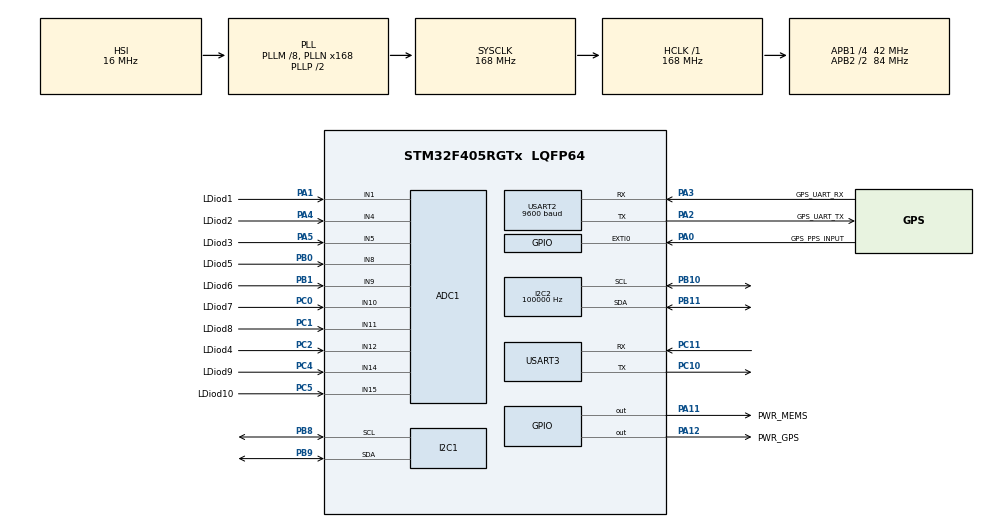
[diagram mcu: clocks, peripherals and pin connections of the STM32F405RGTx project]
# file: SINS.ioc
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Mcu.Family=STM32F4
PH0-OSC_IN.Signal=RCC_OSC_IN
RCC.CortexFreq_Value=168000000
NVIC.I2C1_EV_IRQn=true\:1\:0\:true\:false\:true\:true\:true
PB10.Mode=I2C
VP_ADC1_TempSens_Input.Mode=IN-TempSens
Dma.I2C1_TX.1.Mode=DMA_NORMAL
PC10.Signal=USART3_TX
VP_IWDG_VS_IWDG.Mode=IWDG_Activate
PC0.GPIO_Label=LDiod7
VP_RTC_VS_RTC_Activate.Mode=RTC_Enabled
PB0.GPIO_Label=LDiod5
PB11.Signal=I2C2_SDA
RCC.SYSCLKSource=RCC_SYSCLKSOURCE_PLLCLK
ProjectManager.StackSize=0x400
Dma.I2C1_TX.1.Direction=DMA_MEMORY_TO_PERIPH
PA12.Signal=GPIO_Output
Mcu.UserConstants=ADC_TIMEOUT,100
RCC.HCLKFreq_Value=168000000
RCC.APB2TimFreq_Value=168000000
PB6.Signal=S_TIM4_CH1
Dma.I2C1_RX.0.PeriphDataAlignment=DMA_PDATAALIGN_BYTE
Dma.I2C1_TX.1.PeriphInc=DMA_PINC_DISABLE
RCC.AHBFreq_Value=168000000
PH0-OSC_IN.Mode=HSE-External-Clock-Source
Dma.I2C1_RX.0.Priority=DMA_PRIORITY_LOW
PA12.PinState=GPIO_PIN_SET
RCC.HSE_VALUE=8000000
RCC.RCC_RTC_Clock_Source_FROM_HSE=RCC_RTCCLKSOURCE_HSE_DIV24
ADC1.ScanConvMode=ENABLE
Dma.I2C1_RX.0.Mode=DMA_NORMAL
SH.ADCx_IN15.0=ADC1_IN15,IN15
PC14-OSC32_IN.Mode=LSE-External-Clock-Source
PC4.GPIO_Label=LDiod9
PA14.Mode=Serial_Wire
PB1.GPIO_Label=LDiod6
SH.ADCx_IN8.0=ADC1_IN8,IN8
SH.S_TIM4_CH2.0=TIM4_CH2
PB7.Signal=S_TIM4_CH2
Dma.I2C1_RX.0.Direction=DMA_PERIPH_TO_MEMORY
SH.S_TIM3_CH1.0=TIM3_CH1
NVIC.I2C1_ER_IRQn=true\:1\:0\:true\:false\:true\:true\:true
PH1-OSC_OUT.Mode=HSE-External-Clock-Source
Mcu.Package=LQFP64
PB9.Signal=I2C1_SDA
PB1.Signal=ADCx_IN9
PA6.Signal=S_TIM3_CH1
SH.ADCx_IN14.0=ADC1_IN14,IN14
USART2.VirtualMode=VM_ASYNC
PA2.GPIO_Label=GPS_UART_TX
PC11.Mode=Asynchronous
SH.ADCx_IN9.0=ADC1_IN9,IN9
PB8.GPIO_PuPdOD=GPIO_NOPULL
RCC.APB2CLKDivider=RCC_HCLK_DIV2
SH.ADCx_IN1.0=ADC1_IN1,IN1
SH.S_TIM4_CH1.0=TIM4_CH1
Dma.Request1=I2C1_TX
RCC.APB1TimFreq_Value=84000000
NVIC.DMA1_Stream0_IRQn=true\:1\:0\:true\:false\:true\:false\:true
PC5.Signal=ADCx_IN15
Dma.Request0=I2C1_RX
NVIC.DMA1_Stream6_IRQn=true\:1\:0\:true\:false\:true\:false\:true
I2C2.I2C_Mode=I2C_Fast
PA4.GPIO_Label=LDiod2
PC2.GPIO_Label=LDiod4
PA3.Signal=USART2_RX
Dma.I2C1_TX.1.PeriphDataAlignment=DMA_PDATAALIGN_BYTE
PC15-OSC32_OUT.Mode=LSE-External-Clock-Source
Dma.I2C1_RX.0.PeriphInc=DMA_PINC_DISABLE
Dma.I2C1_RX.0.MemDataAlignment=DMA_MDATAALIGN_BYTE
PC11.Signal=USART3_RX
PB10.GPIO_PuPdOD=GPIO_NOPULL
PB11.GPIO_PuPdOD=GPIO_NOPULL
PC2.Signal=ADCx_IN12
PC4.Signal=ADCx_IN14
PC10.Mode=Asynchronous
PA11.GPIO_Label=PWR_MEMS
PC0.Signal=ADCx_IN10
RCC.APB1CLKDivider=RCC_HCLK_DIV4
PC14-OSC32_IN.Signal=RCC_OSC32_IN
NVIC.USART2_IRQn=true\:1\:0\:true\:false\:true\:true\:false
USART2.BaudRate=9600
PA12.GPIO_Label=PWR_GPS
PA0-WKUP.GPIO_Label=GPS_PPS_INPUT
PA0-WKUP.Signal=GPXTI0
PA3.Mode=Asynchronous
PA13.Signal=SYS_JTMS-SWDIO
SH.ADCx_IN12.0=ADC1_IN12,IN12
PB11.Mode=I2C
ProjectManager.TargetToolchain=STM32CubeIDE
I2C1.I2C_Mode=I2C_Fast
PB9.Mode=I2C
ADC1.Channel-1\#ChannelRegularConversion=ADC_CHANNEL_1
Dma.I2C1_RX.0.MemInc=DMA_MINC_ENABLE
Dma.I2C1_TX.1.Instance=DMA1_Stream6
RCC.LSE_VALUE=32768
PC15-OSC32_OUT.Signal=RCC_OSC32_OUT
PA1.Signal=ADCx_IN1
PB10.Signal=I2C2_SCL
PA5.Signal=ADCx_IN5
SH.S_TIM3_CH2.0=TIM3_CH2
board=custom
RCC.VCOOutputFreq_Value=336000000
Dma.I2C1_TX.1.Priority=DMA_PRIORITY_LOW
Dma.I2C1_TX.1.FIFOMode=DMA_FIFOMODE_DISABLE
RCC.APB2Freq_Value=84000000
SH.ADCx_IN11.0=ADC1_IN11,IN11
Dma.I2C1_TX.1.MemInc=DMA_MINC_ENABLE
I2C2.ClockSpeed=100000
PC1.GPIO_Label=LDiod8
PA1.GPIO_Label=LDiod1
PH1-OSC_OUT.Signal=RCC_OSC_OUT
RCC.RCC_RTC_Clock_SourceVirtual=RCC_RTCCLKSOURCE_LSE
SH.ADCx_IN4.0=ADC1_IN4,IN4
Dma.I2C1_TX.1.MemDataAlignment=DMA_MDATAALIGN_BYTE
ADC1.NbrOfConversion=1
PA13.Mode=Serial_Wire
Mcu.Name=STM32F405RGTx
SH.S_TIM3_ETR.0=TIM3_ETR
PA2.Signal=USART2_TX
I2C1.OwnAddress=0x7A
RCC.48MHZClocksFreq_Value=84000000
NVIC.EXTI0_IRQn=true\:0\:0\:false\:false\:true\:true\:true
PA4.Signal=ADCx_IN4
ADC1.SamplingTime-1\#ChannelRegularConversion=ADC_SAMPLETIME_84CYCLES
RCC.SYSCLKFreq_VALUE=168000000
ADC1.master=1
PA5.GPIO_Label=LDiod3
PC5.GPIO_Label=LDiod10
USART3.VirtualMode=VM_ASYNC
ADC1.Rank-1\#ChannelRegularConversion=1
PA11.Signal=GPIO_Output
PA14.Signal=SYS_JTCK-SWCLK
SH.ADCx_IN10.0=ADC1_IN10,IN10
ProjectManager.HeapSize=0x200
Dma.I2C1_RX.0.FIFOMode=DMA_FIFOMODE_DISABLE
PB9.GPIO_PuPdOD=GPIO_NOPULL
RCC.HSI_VALUE=16000000
SH.ADCx_IN5.0=ADC1_IN5,IN5
NVIC.PriorityGroup=NVIC_PRIORITYGROUP_4
ADC1.NbrOfConversionFlag=1
RCC.PLLM=8
PB8.Mode=I2C
RCC.PLLN=168
IWDG.Prescaler=IWDG_PRESCALER_256
PA2.Mode=Asynchronous
PB8.Signal=I2C1_SCL
PA0-WKUP.GPIO_PuPd=GPIO_PULLDOWN
PD2.Signal=S_TIM3_ETR
PA11.PinState=GPIO_PIN_SET
RCC.APB1Freq_Value=42000000
PB0.Signal=ADCx_IN8
Dma.I2C1_RX.0.Instance=DMA1_Stream0
PC1.Signal=ADCx_IN11
PA3.GPIO_Label=GPS_UART_RX
PA7.Signal=S_TIM3_CH2

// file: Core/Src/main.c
/* USER CODE BEGIN Header */
/**
  ******************************************************************************
  * @file           : main.c
  * @brief          : Main program body
  ******************************************************************************
  * @attention
  *
  * <h2><center>&copy; Copyright (c) 2021 STMicroelectronics.
  * All rights reserved.</center></h2>
  *
  * This software component is licensed by ST under BSD 3-Clause license,
  * the "License"; You may not use this file except in compliance with the
  * License. You may obtain a copy of the License at:
  *                        opensource.org/licenses/BSD-3-Clause
  *
  ******************************************************************************
  */
/* USER CODE END Header */
#include "main.h"

/* USER CODE BEGIN Includes */

#include <errno.h>
#include <stdlib.h>
#include <string.h>
#include <assert.h>

#include <math.h>

#include <stm32f4xx_hal.h>
//#include <diag/Trace.h>

#include "sins_config.h"

#include "drivers/time_svc/time_svc.h"
#include "drivers/mems/mems.h"
#include "drivers/gps/gps.h"
#include "drivers/uplink.h"
#include "drivers/analog/analog.h"
#include "drivers/time_svc/timers_world.h"
#include "backup_sram.h"
#include "drivers/led.h"
#include "errors.h"
#include "SolTrack.h"

#include "mav_packet.h"

#include "state.h"

#include "ahrs.h"
#include "MadgwickAHRS.h"
#include "quaternion.h"
#include "sensors.h"
#include "lds.h"

#include "commissar.h"

/* USER CODE END Includes */

/* USER CODE BEGIN PD */

#define    DWT_CYCCNT    *(volatile uint32_t*)0xE0001004
#define    DWT_CONTROL   *(volatile uint32_t*)0xE0001000
#define    SCB_DEMCR     *(volatile uint32_t*)0xE000EDFC

/* USER CODE END PD */

ADC_HandleTypeDef hadc1;

I2C_HandleTypeDef hi2c2;

IWDG_HandleTypeDef hiwdg;

RTC_HandleTypeDef hrtc;

UART_HandleTypeDef huart2;
UART_HandleTypeDef huart3;

/* USER CODE BEGIN PV */

error_system_t error_system;
state_system_t state_system;
stateSINS_rsc_t stateSINS_rsc;
state_zero_t state_zero;
stateSINS_isc_t stateSINS_isc;
stateSINS_isc_t stateSINS_isc_prev;
//stateSINS_lds_t stateSINS_lds;
/* USER CODE END PV */

void SystemClock_Config(void);
static void MX_GPIO_Init(void);
static void MX_DMA_Init(void);
static void MX_I2C1_Init(void);
static void MX_I2C2_Init(void);
static void MX_USART2_UART_Init(void);
static void MX_USART3_UART_Init(void);
static void MX_RTC_Init(void);
static void MX_ADC1_Init(void);
static void MX_IWDG_Init(void);
/* USER CODE BEGIN PFP */

static void read_ldiods(float arr[ITS_SINS_LDS_COUNT]);
/* USER CODE END PFP */

/* USER CODE BEGIN 0 */

static void dwt_init()
{
	SCB_DEMCR |= CoreDebug_DEMCR_TRCENA_Msk;// разрешаем использовать DWT
	DWT_CONTROL|= DWT_CTRL_CYCCNTENA_Msk; // включаем счётчик
	DWT_CYCCNT = 0;// обнуляем счётчик
}

void system_reset()
{
	led_blink(5, 400);
	HAL_NVIC_SystemReset();
}

static uint32_t last_gps_packet_ts = 0;
static uint32_t last_gps_fix_packet_ts = 0;

/*
static void calibration_accel()
{
	backup_sram_enable();
	backup_sram_erase();

	sensors_init();

	for(;;)
	{
		//	Arrays
		float accel[3] = {0, 0, 0};
		float gyro[3] = {0, 0, 0};
//		float magn[3] = {0, 0, 0};

//		error_system.lis3mdl_error = sensors_lis3mdl_read(magn);
	//	trace_printf("lis error %d\n", error_system.lis3mdl_init_error);

		error_system.lsm6ds3_error = sensors_lsm6ds3_read(accel, gyro);
	//	trace_printf("lsm error %d\n", error_system.lsm6ds3_init_error);

		if (error_system.lsm6ds3_error != 0)
			continue;

		//	пересчитываем их и записываем в структуры
		stateSINS_isc.tv.tv_sec = HAL_GetTick();

		for (int k = 0; k < 3; k++)
		{

			stateSINS_isc.accel[k] = accel[k];
		}

		mavlink_sins_isc(&stateSINS_isc);
		led_toggle();
	}
}
*/

/*
static void calibration_magn()
{
	backup_sram_enable();
	backup_sram_erase();

	sensors_init();

	for(;;)
	{
		//	Arrays
//		float accel[3] = {0, 0, 0};
//		float gyro[3] = {0, 0, 0};
		float magn[3] = {0, 0, 0};

		error_system.lis3mdl_error = sensors_lis3mdl_read(magn);

		if (error_system.lis3mdl_error!= 0)
			continue;

		//	пересчитываем их и записываем в структуры
		stateSINS_isc.tv.tv_sec = HAL_GetTick();

		for (int k = 0; k < 3; k++)
		{

			stateSINS_isc.magn[k] = magn[k];
		}

		mavlink_sins_isc(&stateSINS_isc);
		led_toggle();
	}
}
*/

void on_gps_packet_ahrs(void *arg, const ubx_any_packet_t * packet) {
    if (!ITS_SINS_AHRS_USE_LDS) {
        return;
    }

    int is_packet_valid =
            (packet->pid == UBX_PID_NAV_SOL &&
             packet->packet.navsol.gps_fix == UBX_FIX_TYPE__3D);

    if (!is_packet_valid || time_svc_timebase() != TIME_SVC_TIMEBASE__GPS) {
        return;
    }

    struct timeval tv = {0};
    time_svc_world_get_time(&tv);
    struct Time time = {0};
    time_t seconds = tv.tv_sec;
    struct tm *lt = gmtime(&seconds);
    time.second = tv.tv_sec % 60 + tv.tv_usec / 1000000.0;
    time.minute = lt->tm_min;
    time.hour = lt->tm_hour;
    time.day = lt->tm_mday;
    time.month = lt->tm_mon + 1;
    time.year = lt->tm_year + 1900;

    struct Location location = {0};
    //location.latitude = packet->packet.navsol.pos_ecef;

    int useDegrees = 0;
    int useNorthEqualsZero = 1;
    int computeRefrEquatorial = 0;
    int computeDistance = 0;

    struct Position position = {0};

    float long_lat_coords[3] = {0};
    float xyz_coords[3] = {packet->packet.navsol.pos_ecef[0], packet->packet.navsol.pos_ecef[1], packet->packet.navsol.pos_ecef[2]};
    dekart_to_euler(xyz_coords, long_lat_coords);
    location.latitude = (M_PI / 2 - long_lat_coords[1]);
    location.longitude = (long_lat_coords[2]);
    SolTrack(time, location, &position, useDegrees, useNorthEqualsZero, computeRefrEquatorial, computeDistance);

    float dir_sph[3] = {0};
    dir_sph[0] = 1;
    dir_sph[1] = M_PI / 2 - position.altitude;
    dir_sph[2] = position.azimuthRefract;
    float dir_xyz[3] = {0};

    euler_to_dekart(dir_xyz, dir_sph);

    ahrs_updateVecReal(AHRS_LIGHT, vec_arrToVec(dir_xyz));

    stateSINS_isc.dir_real_sph[0] = dir_sph[0];
    stateSINS_isc.dir_real_sph[1] = dir_sph[1];
    stateSINS_isc.dir_real_sph[2] = dir_sph[2];
    stateSINS_isc.last_valid_gps_packet_time = HAL_GetTick();
    stateSINS_isc.should_we_use_lds = 1;
}
// Функция для слежения за здоровьем GPS и передачи его пакетов в мавлинк
static void on_gps_packet_main(void * arg, const ubx_any_packet_t * packet)
{
	switch (packet->pid)
	{
#pragma GCC diagnostic push
#pragma GCC diagnostic ignored "-Wimplicit-fallthrough"
	case UBX_PID_NAV_SOL:
		// Отмечаем время получения пакета с фиксом
		if (packet->packet.navsol.gps_fix == UBX_FIX_TYPE__3D)
			last_gps_fix_packet_ts = HAL_GetTick();
#pragma GCC diagnostic pop
		/* no break */

	case UBX_PID_NAV_TIMEGPS:
	case UBX_PID_TIM_TP:
		// Отмечаем время получения вообще какого-либо пакета
		last_gps_packet_ts = HAL_GetTick();
		break;

	default:
		// остальные пакеты нас не интересуют
		break;
	}

	// Передаем дальше для обработки
	on_gps_packet(arg, packet);
	on_gps_packet_ahrs(arg, packet);
}

void quat_to_angles(float* quat, float *ang){

    ang[0] = (float)atan((double)((2 * (quat[0] * quat[1] + quat[2] * quat[3])) / (1 - 2 * (quat[1] * quat[1] + quat[2] * quat[2]))));

    ang[1] = (float)asin((double)(2 * (quat[0] * quat[2] - quat[3] * quat[1])));

    ang[2] = (float)atan((double)((2 * (quat[0] * quat[3] + quat[1] * quat[2])) / (1 - 2 * (quat[2] * quat[2] + quat[3] * quat[3]))));
}
/**
  * @brief	Collects data from SINS, stores it and makes quat using "S.Madgwick's" algo
  * @retval	R/w IMU error
  */
int UpdateDataAll(void)
{
	int error = 0;

	//30 минут
    if (HAL_GetTick() - stateSINS_isc.last_valid_gps_packet_time > 1000 * 1800) {
        stateSINS_isc.should_we_use_lds = 0;
    }
	//	Arrays
	float accel[3] = {0, 0, 0};
	float gyro[3] = {0, 0, 0};
	float magn[3] = {0, 0, 0};

	error_system.lis3mdl_error = sensors_lis3mdl_read(magn);
//	trace_printf("lis error %d\n", error_system.lis3mdl_init_error);

	error_system.lsm6ds3_error = sensors_lsm6ds3_read(accel, gyro);
//	trace_printf("lsm error %d\n", error_system.lsm6ds3_init_error);

	float light[3];
	if (ITS_SINS_AHRS_USE_LDS) {
	    float arr[ITS_SINS_LDS_COUNT] = {0};
	    read_ldiods(arr);
        for (int i = 0; i < ITS_SINS_LDS_COUNT; i++) {
            stateSINS_isc.sensor[i] = arr[i];
        }

        float lds_ginv_buf[LDS_DIM * LDS_COUNT];
        Matrixf lds_ginv = matrix_create_static(LDS_DIM, LDS_COUNT, lds_ginv_buf, LDS_DIM * LDS_COUNT);
        int res = lds_get_ginversed(arr, 0.1, &lds_ginv);
        lds_solution(arr, &lds_ginv, light);
        stateSINS_isc.dir_error = lds_calc_error(arr, 0.1, &lds_ginv, light);
        if (isnan(light[0]) || isnan(light[1]) || isnan(light[2]) || res) {
            light[0] = 1;
            light[1] = 0;
            light[2] = 0;
            stateSINS_isc.dir_error = -1;
        }

        //lds_find_bound(light, arr, 0.1);

	    //lds_find(light, arr);

	    {
            float light_sph[3];
            dekart_to_euler(light, light_sph);

            for (int i = 0; i < 3; i++) {
                stateSINS_isc.dir_sph[i] = light_sph[i];
                stateSINS_isc.dir_xyz[i] = light[i];
            }
            static uint32_t tick = 0;
            if (tick % 50 == 0) {
    //            printf("lds: %.3f %.3f %.3f\n", light[0], light[1], light[2]);
            }
            tick++;
        }

        time_svc_world_get_time(&stateSINS_isc.tv);
	}

	time_svc_world_get_time(&stateSINS_isc.tv);

	//	пересчитываем их и записываем в структуры
	for (int k = 0; k < 3; k++) {
		stateSINS_rsc.accel[k] = accel[k];
		gyro[k] -= state_zero.gyro_staticShift[k];
		stateSINS_rsc.gyro[k] = gyro[k];
		stateSINS_rsc.magn[k] = magn[k];
	}

	if ((error_system.lsm6ds3_error != 0) && (error_system.lis3mdl_error != 0))
		return -22;

	/////////////////////////////////////////////////////
	/////////////	UPDATE QUATERNION  //////////////////
	/////////////////////////////////////////////////////

	float t = magn[0];
	magn[0] = -magn[1];
	magn[1] = -t;
	float dt = ((float)((stateSINS_isc.tv.tv_sec * 1000 + stateSINS_isc.tv.tv_usec / 1000)  - (stateSINS_isc_prev.tv.tv_sec * 1000 + stateSINS_isc_prev.tv.tv_usec / 1000))) / 1000;
//	trace_printf("dt = %f", dt);
	stateSINS_isc_prev.tv.tv_sec = stateSINS_isc.tv.tv_sec;
	stateSINS_isc_prev.tv.tv_usec = stateSINS_isc.tv.tv_usec;

    float beta = 6.0;
    quaternion_t ori = {1, 0, 0, 0};

    if (error_system.lsm6ds3_error == 0) {
        stateSINS_isc.do_we_use_lds = ITS_SINS_AHRS_USE_LDS && stateSINS_isc.should_we_use_lds;
        stateSINS_isc.do_we_use_mag = (error_system.lis3mdl_error == 0) && ITS_SINS_AHRS_USE_MAG && !(stateSINS_isc.do_we_use_lds && ITS_SINS_AHRS_LDS_MAG_EXCLUSIVE);

        ahrs_vectorActivate(AHRS_MAG, stateSINS_isc.do_we_use_mag);
        ahrs_vectorActivate(AHRS_LIGHT, stateSINS_isc.do_we_use_lds);
        ahrs_vectorActivate(AHRS_ACCEL, 1);
        ahrs_setKoefB(beta);

        ahrs_updateVecReal(AHRS_MAG, ahrs_get_good_vec_from_mag(vec_arrToVec(magn)));
        ahrs_updateVecReal(AHRS_LIGHT, vec_init(1, -1, 0));
        //Real of light is set in on_gps_packet_ahrs
        //Real of accel is set on start

        ahrs_updateVecMeasured(AHRS_MAG, vec_arrToVec(magn));
        ahrs_updateVecMeasured(AHRS_LIGHT, vec_arrToVec(light));
        ahrs_updateVecMeasured(AHRS_ACCEL, vec_arrToVec(accel));

        ahrs_updateGyroData(vec_arrToVec(gyro));
        ahrs_calculateOrientation(dt);
    }

    ori = ahrs_getOrientation();
    stateSINS_isc.quaternion[0] = ori.w;
    stateSINS_isc.quaternion[1] = ori.x;
    stateSINS_isc.quaternion[2] = ori.y;
    stateSINS_isc.quaternion[3] = ori.z;

	/////////////////////////////////////////////////////
	///////////  ROTATE VECTORS TO ISC  /////////////////
	/////////////////////////////////////////////////////

	vector_t accel_ISC = vec_arrToVec(accel);
	//accel_ISC = vec_rotate(&t, &ori);
	vector_t mag_ISC = vec_arrToVec(magn);
	//mag_ISC = vec_rotate(&t, &ori);

//	printf("hello?\n");
	if (0 == error_system.lsm6ds3_error)
	{
        //TODO: разобраться со сдвигами
	    stateSINS_isc.accel[0] = accel_ISC.x - state_zero.accel_staticShift[0];
	    stateSINS_isc.accel[1] = accel_ISC.y - state_zero.accel_staticShift[1];
	    stateSINS_isc.accel[2] = accel_ISC.z - state_zero.accel_staticShift[2];

	}
	else
	{
		for (int i = 0; i < 3; i++)
			stateSINS_isc.accel[i] = 0;
	}

	//	Copy vectors to global structure
	if (0 == error_system.lis3mdl_error)
	{
        stateSINS_isc.magn[0] = mag_ISC.x;
        stateSINS_isc.magn[1] = mag_ISC.y;
        stateSINS_isc.magn[2] = mag_ISC.z;
	}
	else
	{
		for(int i = 0; i < 3; i++)
			stateSINS_isc.magn[i] = 0;
	}

	float ang[3];
	quat_to_angles(stateSINS_isc.quaternion, ang);
	//printf("ang: %6.2f %6.2f %6.2f\n", ang[0], ang[1], ang[2]);
	return error;
}

/**
  * @brief	Special function for updating previous values structures by current values
  */
void SINS_updatePrevData(void)
{
	for(int i = 0; i < 3; i++)
		if (isnanf(stateSINS_isc.quaternion[i]))		//проверка на нан
			return;

	__disable_irq();
	memcpy(&stateSINS_isc_prev,			&stateSINS_isc,			sizeof(stateSINS_isc));
//	memcpy(&state_system_prev, 			&state_system,		 	sizeof(state_system));		//FIXME: зачем это делать?
	__enable_irq();
}

//FIXME: теперь нет джампера
int check_SINS_state(void)
{
	__HAL_RCC_GPIOB_CLK_ENABLE();
	GPIO_InitTypeDef gpioc;
	gpioc.Mode = GPIO_MODE_INPUT;
	gpioc.Pin = GPIO_PIN_9;
	gpioc.Pull = GPIO_NOPULL;
	gpioc.Speed = GPIO_SPEED_HIGH;
	HAL_GPIO_Init(GPIOB, &gpioc);

	if (HAL_GPIO_ReadPin(GPIOB, GPIO_PIN_9)) //пин с джампером
		return 1;
	else
		return 0;
}

static uint16_t _fetch_reset_cause(void)
{
	int rc = 0;

	if (__HAL_RCC_GET_FLAG(RCC_FLAG_PINRST))
		rc |= MCU_RESET_PIN;

	if (__HAL_RCC_GET_FLAG(RCC_FLAG_PORRST))
		rc |= MCU_RESET_POR;

	if (__HAL_RCC_GET_FLAG(RCC_FLAG_SFTRST))
		rc |= MCU_RESET_SW;

	if (__HAL_RCC_GET_FLAG(RCC_FLAG_IWDGRST))
		rc |= MCU_RESET_WATCHDOG;

	if (__HAL_RCC_GET_FLAG(RCC_FLAG_WWDGRST))
		rc |= MCU_RESET_WATCHDOG2;

	if (__HAL_RCC_GET_FLAG(RCC_FLAG_LPWRRST))
		rc |= MCU_RESET_LOWPOWER;

	__HAL_RCC_CLEAR_RESET_FLAGS();
	return rc;
}

#define RTC_BKP_DR1                     0x00000001U

static uint32_t RTC_BAK_GetRegister(RTC_TypeDef *RTCx, uint32_t BackupRegister)
{
	register uint32_t tmp = 0U;

	  tmp = (uint32_t)(&(RTCx->BKP0R));
	  tmp += (BackupRegister * 4U);

	  /* Read the specified register */
	  return (*(__IO uint32_t *)tmp);
}

static void RTC_BAK_SetRegister(RTC_TypeDef *RTCx, uint32_t BackupRegister, uint32_t Data)
{
  register uint32_t tmp = 0U;

  tmp = (uint32_t)(&(RTCx->BKP0R));
  tmp += (BackupRegister * 4U);

  /* Write the specified register */
  *(__IO uint32_t *)tmp = (uint32_t)Data;
}

int HSI_SystemClock_Config(void)
{
	RCC_OscInitTypeDef RCC_OscInitStruct = {0};
	RCC_ClkInitTypeDef RCC_ClkInitStruct = {0};
	RCC_PeriphCLKInitTypeDef PeriphClkInitStruct = {0};

	/** Configure the main internal regulator output voltage
	*/
	__HAL_RCC_PWR_CLK_ENABLE();
	__HAL_PWR_VOLTAGESCALING_CONFIG(PWR_REGULATOR_VOLTAGE_SCALE1);
	/** Initializes the RCC Oscillators according to the specified parameters
	* in the RCC_OscInitTypeDef structure.
	*/
	RCC_OscInitStruct.OscillatorType = RCC_OSCILLATORTYPE_HSI|RCC_OSCILLATORTYPE_LSI
							  |RCC_OSCILLATORTYPE_LSE;
	RCC_OscInitStruct.LSEState = RCC_LSE_BYPASS;
	RCC_OscInitStruct.HSIState = RCC_HSI_ON;
	RCC_OscInitStruct.HSICalibrationValue = RCC_HSICALIBRATION_DEFAULT;
	RCC_OscInitStruct.LSIState = RCC_LSI_ON;
	RCC_OscInitStruct.PLL.PLLState = RCC_PLL_ON;
	RCC_OscInitStruct.PLL.PLLSource = RCC_PLLSOURCE_HSI;
	RCC_OscInitStruct.PLL.PLLM = 8;
	RCC_OscInitStruct.PLL.PLLN = 168;
	RCC_OscInitStruct.PLL.PLLP = RCC_PLLP_DIV2;
	RCC_OscInitStruct.PLL.PLLQ = 4;
	if (HAL_RCC_OscConfig(&RCC_OscInitStruct) != HAL_OK)
	{
	return 1;
	}
	/** Initializes the CPU, AHB and APB buses clocks
	*/
	RCC_ClkInitStruct.ClockType = RCC_CLOCKTYPE_HCLK|RCC_CLOCKTYPE_SYSCLK
							  |RCC_CLOCKTYPE_PCLK1|RCC_CLOCKTYPE_PCLK2;
	RCC_ClkInitStruct.SYSCLKSource = RCC_SYSCLKSOURCE_PLLCLK;
	RCC_ClkInitStruct.AHBCLKDivider = RCC_SYSCLK_DIV1;
	RCC_ClkInitStruct.APB1CLKDivider = RCC_HCLK_DIV4;
	RCC_ClkInitStruct.APB2CLKDivider = RCC_HCLK_DIV2;

	if (HAL_RCC_ClockConfig(&RCC_ClkInitStruct, FLASH_LATENCY_5) != HAL_OK)
	{
	return 1;
	}
	PeriphClkInitStruct.PeriphClockSelection = RCC_PERIPHCLK_RTC;
	PeriphClkInitStruct.RTCClockSelection = RCC_RTCCLKSOURCE_LSE;
	if (HAL_RCCEx_PeriphCLKConfig(&PeriphClkInitStruct) != HAL_OK)
	{
	return 1;
	}

	return 0;
}

//Настройки генераторов на плате
int HSE_SystemClock_Config(void)
{
  RCC_OscInitTypeDef RCC_OscInitStruct = {0};
  RCC_ClkInitTypeDef RCC_ClkInitStruct = {0};
  RCC_PeriphCLKInitTypeDef PeriphClkInitStruct = {0};

  /** Configure the main internal regulator output voltage
  */
  __HAL_RCC_PWR_CLK_ENABLE();
  __HAL_PWR_VOLTAGESCALING_CONFIG(PWR_REGULATOR_VOLTAGE_SCALE1);
  /** Initializes the RCC Oscillators according to the specified parameters
  * in the RCC_OscInitTypeDef structure.
  */
  RCC_OscInitStruct.OscillatorType = RCC_OSCILLATORTYPE_HSE|RCC_OSCILLATORTYPE_LSI;
  RCC_OscInitStruct.HSEState = RCC_HSE_BYPASS;
//  RCC_OscInitStruct.LSEState = RCC_LSE_BYPASS;
  RCC_OscInitStruct.PLL.PLLState = RCC_PLL_ON;
  RCC_OscInitStruct.PLL.PLLSource = RCC_PLLSOURCE_HSE;
  RCC_OscInitStruct.PLL.PLLM = 4;
  RCC_OscInitStruct.PLL.PLLN = 168;
  RCC_OscInitStruct.PLL.PLLP = RCC_PLLP_DIV2;
  RCC_OscInitStruct.PLL.PLLQ = 4;
  if (HAL_RCC_OscConfig(&RCC_OscInitStruct) != HAL_OK)
  {
    return 1;
  }
  /** Initializes the CPU, AHB and APB buses clocks
  */
  RCC_ClkInitStruct.ClockType = RCC_CLOCKTYPE_HCLK|RCC_CLOCKTYPE_SYSCLK
                              |RCC_CLOCKTYPE_PCLK1|RCC_CLOCKTYPE_PCLK2;
  RCC_ClkInitStruct.SYSCLKSource = RCC_SYSCLKSOURCE_PLLCLK;
  RCC_ClkInitStruct.AHBCLKDivider = RCC_SYSCLK_DIV1;
  RCC_ClkInitStruct.APB1CLKDivider = RCC_HCLK_DIV4;
  RCC_ClkInitStruct.APB2CLKDivider = RCC_HCLK_DIV2;

  if (HAL_RCC_ClockConfig(&RCC_ClkInitStruct, FLASH_LATENCY_5) != HAL_OK)
  {
    return 1;
  }
//  PeriphClkInitStruct.PeriphClockSelection = RCC_PERIPHCLK_RTC;
//  PeriphClkInitStruct.RTCClockSelection = RCC_RTCCLKSOURCE_LSE;
  if (HAL_RCCEx_PeriphCLKConfig(&PeriphClkInitStruct) != HAL_OK)
  {
    return 1;
  }
  /** Enables the Clock Security System
  */
  HAL_RCC_EnableCSS();

  return 0;
}
/* USER CODE END 0 */

int main(void)
{

  /* MCU Configuration--------------------------------------------------------*/

  /* Reset of all peripherals, Initializes the Flash interface and the Systick. */
  HAL_Init();

  /* USER CODE BEGIN Init */
#ifdef WITHOUT_RTC
  /* USER CODE END Init */

  /* Configure the system clock */
  SystemClock_Config();

  /* USER CODE BEGIN SysInit */
#endif

  //Запускаемся с RTC
  int error = HSE_SystemClock_Config();
  if (error)
  {
	  error = 0;
	  error = HSI_SystemClock_Config();
	  if (1 == error)
		  HAL_NVIC_SystemReset();
  }

  /* USER CODE END SysInit */

  /* Initialize all configured peripherals */
  MX_GPIO_Init();
  MX_DMA_Init();
  MX_I2C1_Init();
  MX_I2C2_Init();
  MX_USART2_UART_Init();
  MX_USART3_UART_Init();
  MX_RTC_Init();
  MX_ADC1_Init();
  MX_IWDG_Init();
  /* USER CODE BEGIN 2 */

  //	Global structures init
	memset(&stateSINS_isc, 			0x00, sizeof(stateSINS_isc));
	memset(&stateSINS_isc_prev, 	0x00, sizeof(stateSINS_isc_prev));
  	memset(&stateSINS_rsc, 			0x00, sizeof(stateSINS_rsc));
  	memset(&state_system,			0x00, sizeof(state_system));
  	memset(&state_zero,				0x00, sizeof(state_zero));
  	memset(&error_system, 			0x00, sizeof(error_system));

  	led_init();

  	dwt_init();
  	commissar_init();

  	if (RCC_PLLSOURCE_HSI == __HAL_RCC_GET_PLL_OSCSOURCE())
  		error_system.osc_source = ACTIVE_OSCILLATOR_HSI;
	else
		error_system.osc_source = ACTIVE_OSCILLATOR_HSE;

  	/*if (CALIBRATION_LSM)
  		calibration_accel();

  	if (CALIBRATION_LIS)
  		calibration_magn();*/

  	/*if (check_SINS_state() == 1)
  	{
  		backup_sram_enable();
  		backup_sram_erase();

  		sensors_init();
  		error_mems_read();

  		HAL_Delay(1000);
  		int error;
  		for (int i = 0; i < 2; i++)
  		{
  			error = mems_get_gyro_staticShift(state_zero.gyro_staticShift);
  			error += mems_get_accel_staticShift(state_zero.accel_staticShift);
  			if (error != 0)
  			{
  				system_reset();
  			}
  		}

  		error_system.reset_counter = 0;
  		backup_sram_write_reset_counter(&error_system.reset_counter);
  		backup_sram_write_zero_state(&state_zero);

  	}
  	else*/
  	{
  		// Грузим из бэкап регистров количество рестартов, которое с нами случилось
		error_system.reset_counter = RTC_BAK_GetRegister(RTC, RTC_BKP_DR1);
		error_system.reset_counter += 1;
		RTC_BAK_SetRegister(RTC, RTC_BKP_DR1, error_system.reset_counter);

		// Смотрим причину последнего резета
		error_system.reset_cause = _fetch_reset_cause();

  		//iwdg_init(&transfer_uart_iwdg_handle);

  		time_svc_steady_init();

  		int error = time_svc_world_preinit_with_rtc();
  		error_system.rtc_error = error;
  		if (error != 0)
  			time_svc_world_preinit_without_rtc(); 		//не смогли запустить rtc. Запустимся без него
  		else
  			time_svc_world_init();			//Смогли запустить rtc. Запустим все остальное

  		error = 0;
  		error = uplink_init();
  		if (error != 0)
  			system_reset();				//Если не запустился uart, то мы - кирпич

  		// Настраиваем GPS

  		error = 0;
  		error = gps_init(on_gps_packet_main, NULL);
  		gps_configure_begin();
  		if (error != 0)
  		{
  			error_system.gps_uart_init_error = error;
  		}
  		else
  		{
  			error_system.gps_config_error = error;
  		}
  		printf("gps init error %d\n", error);

  		// Настраиваем аналоговые датчики (пока только внутренний термометр)

  		error = 0;
  		error = analog_init();
  		error_system.analog_sensor_init_error = error;
  		if (error != 0)
  			{
  				HAL_Delay(500);
  				error_system.analog_sensor_init_error = analog_restart();
  			}

  		ahrs_init();
        ahrs_vectorActivate(AHRS_ACCEL, 1);
        ahrs_updateVecReal(AHRS_ACCEL, vec_init(0, 0, 1));
        ahrs_updateVecPortion(AHRS_ACCEL, 1);

        ahrs_vectorActivate(AHRS_MAG, 1);
        ahrs_updateVecPortion(AHRS_MAG, 1);

        ahrs_vectorActivate(AHRS_LIGHT, 1);
        ahrs_updateVecPortion(AHRS_LIGHT, 1);

  		// мемсы?
  		sensors_init();
  		error_mems_read();

  		// Получаем мировое время (хз зачем)
  		time_svc_world_get_time(&stateSINS_isc_prev.tv);

  		// ???
  		error_system_check();

  		// Берем время в мс со старта (хз зачем)
  		uint32_t prew_time = HAL_GetTick();
  		uint32_t time = 0;

  		commissar_init();

  		int HSE_start_time = 0;
  		//Если едем на HSE перезапускаться не будем
  		if (RCC_PLLSOURCE_HSI == __HAL_RCC_GET_PLL_OSCSOURCE())
  		{
  			//Будем пытаться запускаться на HSE каждые 10 минут
			HSE_start_time = HAL_GetTick();

  		}

  		// Пашем, работяги
  		for (; ; )
  		{
  			// подбираем частоту данных (система против потома)
  			for (int u = 0; u < 5; u++)
  			{
  				for (int i = 0; i < 10; i++)
  				{
  				    {
  				        static uint32_t prev = 0;
  				        uint32_t now= HAL_GetTick();
  				        if (now - prev >= 1000) {
  				            prev += 1000;

                            struct timeval tv;
                            time_svc_world_get_time(&tv);
  				            printf("@TIME: %d.%06d | %d ticks\n", (int)tv.tv_sec, (int)tv.tv_usec, (int)now);
  				        }
  				    }
  					// Кормит маджвик данными
  					UpdateDataAll();
  					SINS_updatePrevData();
  				}

  				// Оставь, пусть работает
  				gps_poll();
  	  			// Пробуем отправить отложенные сообщения
  	  			uplink_flush_injected();

  				// Проверяем процесс конфигурации
  				const int gps_cfg_status = gps_configure_status();
  				if (gps_cfg_status != -EWOULDBLOCK) // конфигурация уже закончилась
  				{
  					error_system.gps_config_error = gps_cfg_status;
  					uint32_t now = HAL_GetTick();

  					if (gps_cfg_status != 0)
  					{
  						// закончилась но плохо. Начинаем опять
  						error_system.gps_reconfig_counter++;
  						gps_configure_begin();
  					}
  					else if (now - last_gps_fix_packet_ts > ITS_SINS_GPS_MAX_NOFIX_TIME)
  					{
  						// Если GPS слишком долго не фиксится
  						// Тоже отправляем его в реконфигурациюs
  						// Перед этим сделаем вид, что фикс у нас был
  						// Так как он редко появляется сразу, а если это время не обновить -
  						// то эта ветка будет срабатывать постоянно
  						error_system.gps_reconfig_counter++;
  						last_gps_fix_packet_ts = HAL_GetTick();
  						gps_configure_begin();
  					}
  					else if (now - last_gps_packet_ts > ITS_SINS_GPS_MAX_NOPACKET_TIME)
  					{
  						// Если слишком давно не приходило интересных нам пакетов
  						// Отправляем gps в реконфигурацию
  						// Сбросим время,чтобы не крутитсяв этом цикле вечно, если что-то пошло не так
  						error_system.gps_reconfig_counter++;
  						last_gps_packet_ts = HAL_GetTick();
  						gps_configure_begin();
  					}
  				}

  				// Проверяем инерциалку на ошибки
  				if ((error_system.lsm6ds3_error != 0) && (error_system.lis3mdl_error != 0))
  					continue;
  				// Отвравляем данные во внешний мир
  				mavlink_sins_isc(&stateSINS_isc); //<<---------------TODO: Переписать
  				//mavlink_ahrs_stats(&stateSINS_lds);

  			}
  			time = HAL_GetTick();
  			if (time - prew_time < 1000)
  				continue;
  			prew_time = time;

  			// Отправляем всякое почтой России (или нет)
  			mavlink_timestamp();
  			own_temp_packet();
  			//mavlink_light_diode(&stateSINS_lds);

  			error_mems_read();
  			mavlink_errors_packet();
  			mavlink_its_link_stats();
  			commissar_work();
  			mavlink_comissar_report();

  			if (RCC_PLLSOURCE_HSI == __HAL_RCC_GET_PLL_OSCSOURCE())
  			{
  				int HSE_stop_time = HAL_GetTick();

  				if ((HSE_stop_time - HSE_start_time) > 10 * 60 * 1000)
  					HAL_NVIC_SystemReset();
  			}
  		}
  	}

  /* USER CODE END 2 */

  /* Infinite loop */
  /* USER CODE BEGIN WHILE */
  while (1)
  {
    break;
    /* USER CODE END WHILE */

    /* USER CODE BEGIN 3 */
  }
  HAL_NVIC_SystemReset();
  /* USER CODE END 3 */
}

void SystemClock_Config(void)
{
  RCC_OscInitTypeDef RCC_OscInitStruct = {0};
  RCC_ClkInitTypeDef RCC_ClkInitStruct = {0};
  RCC_PeriphCLKInitTypeDef PeriphClkInitStruct = {0};

  /** Configure the main internal regulator output voltage
  */
  __HAL_RCC_PWR_CLK_ENABLE();
  __HAL_PWR_VOLTAGESCALING_CONFIG(PWR_REGULATOR_VOLTAGE_SCALE1);
  /** Initializes the RCC Oscillators according to the specified parameters
  * in the RCC_OscInitTypeDef structure.
  */
  RCC_OscInitStruct.OscillatorType = RCC_OSCILLATORTYPE_HSI|RCC_OSCILLATORTYPE_LSI
                              |RCC_OSCILLATORTYPE_LSE;
  RCC_OscInitStruct.LSEState = RCC_LSE_BYPASS;
  RCC_OscInitStruct.HSIState = RCC_HSI_ON;
  RCC_OscInitStruct.HSICalibrationValue = RCC_HSICALIBRATION_DEFAULT;
  RCC_OscInitStruct.LSIState = RCC_LSI_ON;
  RCC_OscInitStruct.PLL.PLLState = RCC_PLL_ON;
  RCC_OscInitStruct.PLL.PLLSource = RCC_PLLSOURCE_HSI;
  RCC_OscInitStruct.PLL.PLLM = 8;
  RCC_OscInitStruct.PLL.PLLN = 168;
  RCC_OscInitStruct.PLL.PLLP = RCC_PLLP_DIV2;
  RCC_OscInitStruct.PLL.PLLQ = 4;
  if (HAL_RCC_OscConfig(&RCC_OscInitStruct) != HAL_OK)
  {
    Error_Handler();
  }
  /** Initializes the CPU, AHB and APB buses clocks
  */
  RCC_ClkInitStruct.ClockType = RCC_CLOCKTYPE_HCLK|RCC_CLOCKTYPE_SYSCLK
                              |RCC_CLOCKTYPE_PCLK1|RCC_CLOCKTYPE_PCLK2;
  RCC_ClkInitStruct.SYSCLKSource = RCC_SYSCLKSOURCE_PLLCLK;
  RCC_ClkInitStruct.AHBCLKDivider = RCC_SYSCLK_DIV1;
  RCC_ClkInitStruct.APB1CLKDivider = RCC_HCLK_DIV4;
  RCC_ClkInitStruct.APB2CLKDivider = RCC_HCLK_DIV2;

  if (HAL_RCC_ClockConfig(&RCC_ClkInitStruct, FLASH_LATENCY_5) != HAL_OK)
  {
    Error_Handler();
  }
  PeriphClkInitStruct.PeriphClockSelection = RCC_PERIPHCLK_RTC;
  PeriphClkInitStruct.RTCClockSelection = RCC_RTCCLKSOURCE_LSE;
  if (HAL_RCCEx_PeriphCLKConfig(&PeriphClkInitStruct) != HAL_OK)
  {
    Error_Handler();
  }
}

static void MX_ADC1_Init(void)
{

  ADC_ChannelConfTypeDef sConfig = {0};

  /** Configure the global features of the ADC (Clock, Resolution, Data Alignment and number of conversion)
  */
  hadc1.Instance = ADC1;
  hadc1.Init.ClockPrescaler = ADC_CLOCK_SYNC_PCLK_DIV4;
  hadc1.Init.Resolution = ADC_RESOLUTION_12B;
  hadc1.Init.ScanConvMode = ENABLE;
  hadc1.Init.ContinuousConvMode = DISABLE;
  hadc1.Init.DiscontinuousConvMode = DISABLE;
  hadc1.Init.ExternalTrigConvEdge = ADC_EXTERNALTRIGCONVEDGE_NONE;
  hadc1.Init.ExternalTrigConv = ADC_SOFTWARE_START;
  hadc1.Init.DataAlign = ADC_DATAALIGN_RIGHT;
  hadc1.Init.NbrOfConversion = 1;
  hadc1.Init.DMAContinuousRequests = DISABLE;
  hadc1.Init.EOCSelection = ADC_EOC_SINGLE_CONV;
  if (HAL_ADC_Init(&hadc1) != HAL_OK)
  {
    Error_Handler();
  }
  /** Configure for the selected ADC regular channel its corresponding rank in the sequencer and its sample time.
  */
  sConfig.Channel = ADC_CHANNEL_1;
  sConfig.Rank = 1;
  sConfig.SamplingTime = ADC_SAMPLETIME_84CYCLES;
  if (HAL_ADC_ConfigChannel(&hadc1, &sConfig) != HAL_OK)
  {
    Error_Handler();
  }

}

static void MX_I2C1_Init(void)
{

  LL_I2C_InitTypeDef I2C_InitStruct = {0};

  LL_GPIO_InitTypeDef GPIO_InitStruct = {0};

  LL_AHB1_GRP1_EnableClock(LL_AHB1_GRP1_PERIPH_GPIOB);
  /**I2C1 GPIO Configuration
  PB8   ------> I2C1_SCL
  PB9   ------> I2C1_SDA
  */
  GPIO_InitStruct.Pin = LL_GPIO_PIN_8|LL_GPIO_PIN_9;
  GPIO_InitStruct.Mode = LL_GPIO_MODE_ALTERNATE;
  GPIO_InitStruct.Speed = LL_GPIO_SPEED_FREQ_VERY_HIGH;
  GPIO_InitStruct.OutputType = LL_GPIO_OUTPUT_OPENDRAIN;
  GPIO_InitStruct.Pull = LL_GPIO_PULL_NO;
  GPIO_InitStruct.Alternate = LL_GPIO_AF_4;
  LL_GPIO_Init(GPIOB, &GPIO_InitStruct);

  /* Peripheral clock enable */
  LL_APB1_GRP1_EnableClock(LL_APB1_GRP1_PERIPH_I2C1);

  /* I2C1 DMA Init */

  /* I2C1_RX Init */
  LL_DMA_SetChannelSelection(DMA1, LL_DMA_STREAM_0, LL_DMA_CHANNEL_1);

  LL_DMA_SetDataTransferDirection(DMA1, LL_DMA_STREAM_0, LL_DMA_DIRECTION_PERIPH_TO_MEMORY);

  LL_DMA_SetStreamPriorityLevel(DMA1, LL_DMA_STREAM_0, LL_DMA_PRIORITY_LOW);

  LL_DMA_SetMode(DMA1, LL_DMA_STREAM_0, LL_DMA_MODE_NORMAL);

  LL_DMA_SetPeriphIncMode(DMA1, LL_DMA_STREAM_0, LL_DMA_PERIPH_NOINCREMENT);

  LL_DMA_SetMemoryIncMode(DMA1, LL_DMA_STREAM_0, LL_DMA_MEMORY_INCREMENT);

  LL_DMA_SetPeriphSize(DMA1, LL_DMA_STREAM_0, LL_DMA_PDATAALIGN_BYTE);

  LL_DMA_SetMemorySize(DMA1, LL_DMA_STREAM_0, LL_DMA_MDATAALIGN_BYTE);

  LL_DMA_DisableFifoMode(DMA1, LL_DMA_STREAM_0);

  /* I2C1_TX Init */
  LL_DMA_SetChannelSelection(DMA1, LL_DMA_STREAM_6, LL_DMA_CHANNEL_1);

  LL_DMA_SetDataTransferDirection(DMA1, LL_DMA_STREAM_6, LL_DMA_DIRECTION_MEMORY_TO_PERIPH);

  LL_DMA_SetStreamPriorityLevel(DMA1, LL_DMA_STREAM_6, LL_DMA_PRIORITY_LOW);

  LL_DMA_SetMode(DMA1, LL_DMA_STREAM_6, LL_DMA_MODE_NORMAL);

  LL_DMA_SetPeriphIncMode(DMA1, LL_DMA_STREAM_6, LL_DMA_PERIPH_NOINCREMENT);

  LL_DMA_SetMemoryIncMode(DMA1, LL_DMA_STREAM_6, LL_DMA_MEMORY_INCREMENT);

  LL_DMA_SetPeriphSize(DMA1, LL_DMA_STREAM_6, LL_DMA_PDATAALIGN_BYTE);

  LL_DMA_SetMemorySize(DMA1, LL_DMA_STREAM_6, LL_DMA_MDATAALIGN_BYTE);

  LL_DMA_DisableFifoMode(DMA1, LL_DMA_STREAM_6);

  /* I2C1 interrupt Init */
  NVIC_SetPriority(I2C1_EV_IRQn, NVIC_EncodePriority(NVIC_GetPriorityGrouping(),1, 0));
  NVIC_EnableIRQ(I2C1_EV_IRQn);
  NVIC_SetPriority(I2C1_ER_IRQn, NVIC_EncodePriority(NVIC_GetPriorityGrouping(),1, 0));
  NVIC_EnableIRQ(I2C1_ER_IRQn);

  /** I2C Initialization
  */
  LL_I2C_DisableOwnAddress2(I2C1);
  LL_I2C_DisableGeneralCall(I2C1);
  LL_I2C_EnableClockStretching(I2C1);
  I2C_InitStruct.PeripheralMode = LL_I2C_MODE_I2C;
  I2C_InitStruct.ClockSpeed = 400000;
  I2C_InitStruct.DutyCycle = LL_I2C_DUTYCYCLE_2;
  I2C_InitStruct.OwnAddress1 = 244;
  I2C_InitStruct.TypeAcknowledge = LL_I2C_ACK;
  I2C_InitStruct.OwnAddrSize = LL_I2C_OWNADDRESS1_7BIT;
  LL_I2C_Init(I2C1, &I2C_InitStruct);
  LL_I2C_SetOwnAddress2(I2C1, 0);

}

static void MX_I2C2_Init(void)
{

  hi2c2.Instance = I2C2;
  hi2c2.Init.ClockSpeed = 100000;
  hi2c2.Init.DutyCycle = I2C_DUTYCYCLE_2;
  hi2c2.Init.OwnAddress1 = 0;
  hi2c2.Init.AddressingMode = I2C_ADDRESSINGMODE_7BIT;
  hi2c2.Init.DualAddressMode = I2C_DUALADDRESS_DISABLE;
  hi2c2.Init.OwnAddress2 = 0;
  hi2c2.Init.GeneralCallMode = I2C_GENERALCALL_DISABLE;
  hi2c2.Init.NoStretchMode = I2C_NOSTRETCH_DISABLE;
  if (HAL_I2C_Init(&hi2c2) != HAL_OK)
  {
    Error_Handler();
  }

}

static void MX_IWDG_Init(void)
{

  /* USER CODE BEGIN IWDG_Init 1 */
#ifndef DEBUG
  /* USER CODE END IWDG_Init 1 */
  hiwdg.Instance = IWDG;
  hiwdg.Init.Prescaler = IWDG_PRESCALER_256;
  hiwdg.Init.Reload = 4095;
  if (HAL_IWDG_Init(&hiwdg) != HAL_OK)
  {
    Error_Handler();
  }
  /* USER CODE BEGIN IWDG_Init 2 */
#endif

#ifdef DEBUG
  return;
#endif
  /* USER CODE END IWDG_Init 2 */

}

static void MX_RTC_Init(void)
{

  /* USER CODE BEGIN RTC_Init 0 */
	return;

  /* USER CODE END RTC_Init 0 */

  /** Initialize RTC Only
  */
  hrtc.Instance = RTC;
  hrtc.Init.HourFormat = RTC_HOURFORMAT_24;
  hrtc.Init.AsynchPrediv = 127;
  hrtc.Init.SynchPrediv = 255;
  hrtc.Init.OutPut = RTC_OUTPUT_DISABLE;
  hrtc.Init.OutPutPolarity = RTC_OUTPUT_POLARITY_HIGH;
  hrtc.Init.OutPutType = RTC_OUTPUT_TYPE_OPENDRAIN;
  if (HAL_RTC_Init(&hrtc) != HAL_OK)
  {
    Error_Handler();
  }

}

static void MX_USART2_UART_Init(void)
{

  huart2.Instance = USART2;
  huart2.Init.BaudRate = 9600;
  huart2.Init.WordLength = UART_WORDLENGTH_8B;
  huart2.Init.StopBits = UART_STOPBITS_1;
  huart2.Init.Parity = UART_PARITY_NONE;
  huart2.Init.Mode = UART_MODE_TX_RX;
  huart2.Init.HwFlowCtl = UART_HWCONTROL_NONE;
  huart2.Init.OverSampling = UART_OVERSAMPLING_16;
  if (HAL_UART_Init(&huart2) != HAL_OK)
  {
    Error_Handler();
  }
  /* USER CODE BEGIN USART2_Init 2 */
  __HAL_UART_ENABLE_IT(&huart2, UART_IT_RXNE);
  /* USER CODE END USART2_Init 2 */

}

static void MX_USART3_UART_Init(void)
{

  huart3.Instance = USART3;
  huart3.Init.BaudRate = 115200;
  huart3.Init.WordLength = UART_WORDLENGTH_8B;
  huart3.Init.StopBits = UART_STOPBITS_1;
  huart3.Init.Parity = UART_PARITY_NONE;
  huart3.Init.Mode = UART_MODE_TX_RX;
  huart3.Init.HwFlowCtl = UART_HWCONTROL_NONE;
  huart3.Init.OverSampling = UART_OVERSAMPLING_16;
  if (HAL_UART_Init(&huart3) != HAL_OK)
  {
    Error_Handler();
  }

}

static void MX_DMA_Init(void)
{

  /* DMA controller clock enable */
  __HAL_RCC_DMA1_CLK_ENABLE();

  /* DMA interrupt init */
  /* DMA1_Stream0_IRQn interrupt configuration */
  NVIC_SetPriority(DMA1_Stream0_IRQn, NVIC_EncodePriority(NVIC_GetPriorityGrouping(),1, 0));
  NVIC_EnableIRQ(DMA1_Stream0_IRQn);
  /* DMA1_Stream6_IRQn interrupt configuration */
  NVIC_SetPriority(DMA1_Stream6_IRQn, NVIC_EncodePriority(NVIC_GetPriorityGrouping(),1, 0));
  NVIC_EnableIRQ(DMA1_Stream6_IRQn);

}

static void MX_GPIO_Init(void)
{
  GPIO_InitTypeDef GPIO_InitStruct = {0};

  /* GPIO Ports Clock Enable */
  __HAL_RCC_GPIOC_CLK_ENABLE();
  __HAL_RCC_GPIOH_CLK_ENABLE();
  __HAL_RCC_GPIOA_CLK_ENABLE();
  __HAL_RCC_GPIOB_CLK_ENABLE();
  __HAL_RCC_GPIOD_CLK_ENABLE();

  /*Configure GPIO pin Output Level */
  HAL_GPIO_WritePin(GPIOA, PWR_MEMS_Pin|PWR_GPS_Pin, GPIO_PIN_SET);

  /*Configure GPIO pin : GPS_PPS_INPUT_Pin */
  GPIO_InitStruct.Pin = GPS_PPS_INPUT_Pin;
  GPIO_InitStruct.Mode = GPIO_MODE_IT_RISING;
  GPIO_InitStruct.Pull = GPIO_PULLDOWN;
  HAL_GPIO_Init(GPS_PPS_INPUT_GPIO_Port, &GPIO_InitStruct);

  /*Configure GPIO pins : PA6 PA7 */
  GPIO_InitStruct.Pin = GPIO_PIN_6|GPIO_PIN_7;
  GPIO_InitStruct.Mode = GPIO_MODE_AF_PP;
  GPIO_InitStruct.Pull = GPIO_NOPULL;
  GPIO_InitStruct.Speed = GPIO_SPEED_FREQ_LOW;
  GPIO_InitStruct.Alternate = GPIO_AF2_TIM3;
  HAL_GPIO_Init(GPIOA, &GPIO_InitStruct);

  /*Configure GPIO pins : PWR_MEMS_Pin PWR_GPS_Pin */
  GPIO_InitStruct.Pin = PWR_MEMS_Pin|PWR_GPS_Pin;
  GPIO_InitStruct.Mode = GPIO_MODE_OUTPUT_PP;
  GPIO_InitStruct.Pull = GPIO_NOPULL;
  GPIO_InitStruct.Speed = GPIO_SPEED_FREQ_LOW;
  HAL_GPIO_Init(GPIOA, &GPIO_InitStruct);

  /*Configure GPIO pin : PD2 */
  GPIO_InitStruct.Pin = GPIO_PIN_2;
  GPIO_InitStruct.Mode = GPIO_MODE_AF_PP;
  GPIO_InitStruct.Pull = GPIO_NOPULL;
  GPIO_InitStruct.Speed = GPIO_SPEED_FREQ_LOW;
  GPIO_InitStruct.Alternate = GPIO_AF2_TIM3;
  HAL_GPIO_Init(GPIOD, &GPIO_InitStruct);

  /*Configure GPIO pins : PB6 PB7 */
  GPIO_InitStruct.Pin = GPIO_PIN_6|GPIO_PIN_7;
  GPIO_InitStruct.Mode = GPIO_MODE_AF_PP;
  GPIO_InitStruct.Pull = GPIO_NOPULL;
  GPIO_InitStruct.Speed = GPIO_SPEED_FREQ_LOW;
  GPIO_InitStruct.Alternate = GPIO_AF2_TIM4;
  HAL_GPIO_Init(GPIOB, &GPIO_InitStruct);

  /* EXTI interrupt init*/
  HAL_NVIC_SetPriority(EXTI0_IRQn, 0, 0);
  HAL_NVIC_EnableIRQ(EXTI0_IRQn);

}

/* USER CODE BEGIN 4 */

static void read_ldiods(float arr[ITS_SINS_LDS_COUNT]) {
    static const analog_target_t order_adc[ITS_SINS_LDS_COUNT] = {
        ANALOG_TARGET_LED_0,
        ANALOG_TARGET_LED_1,
        ANALOG_TARGET_LED_2,
        ANALOG_TARGET_LED_3,
        ANALOG_TARGET_LED_4,
        ANALOG_TARGET_LED_5,
        ANALOG_TARGET_LED_6,
        ANALOG_TARGET_LED_7,
        ANALOG_TARGET_LED_8,
        ANALOG_TARGET_LED_9
    };
    static const analog_target_t order_led[ITS_SINS_LDS_COUNT] = {
        LDIODE_SWAP_0,
        LDIODE_SWAP_1,
        LDIODE_SWAP_2,
        LDIODE_SWAP_3,
        LDIODE_SWAP_4,
        LDIODE_SWAP_5,
        LDIODE_SWAP_6,
        LDIODE_SWAP_7,
        LDIODE_SWAP_8,
        LDIODE_SWAP_9,
    };

    for (int i = 0; i < ITS_SINS_LDS_COUNT; i++)
    {
        uint16_t value;
        int rc = analog_get_raw(order_adc[i], 5, &value);
        assert(0 == rc);
        float v = ((float)value / (1 << 12)) * 3.3;
        arr[order_led[i]] = v;
    }
}
/* USER CODE END 4 */

void Error_Handler(void)
{
  /* USER CODE BEGIN Error_Handler_Debug */
  /* User can add his own implementation to report the HAL error return state */
#ifdef DEGUB
  while (1)
  {
  }
#endif
  HAL_NVIC_SystemReset();

  __disable_irq();

  while (1)
  {
  }
  /* USER CODE END Error_Handler_Debug */
}

/************************ (C) COPYRIGHT STMicroelectronics *****END OF FILE****/
